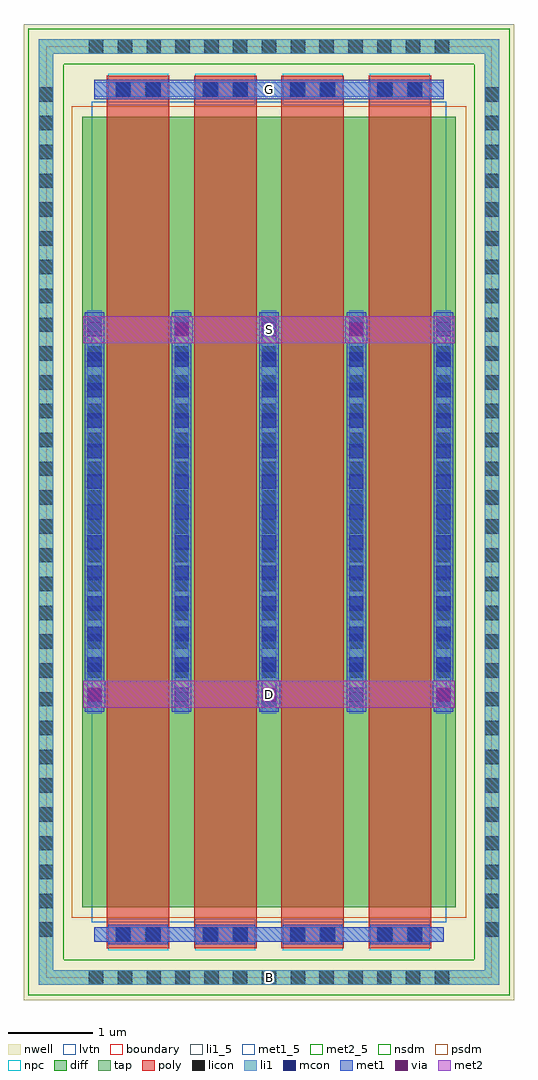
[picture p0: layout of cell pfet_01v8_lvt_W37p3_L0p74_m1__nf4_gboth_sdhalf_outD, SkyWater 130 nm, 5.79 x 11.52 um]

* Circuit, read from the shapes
.subckt pfet_01v8_lvt_W37p3_L0p74_m1__nf4_gboth_sdhalf_outD B D G S
XM1 S G D B sky130_fd_pr__pfet_01v8_lvt w=9.33 l=0.74 m=4
.ends

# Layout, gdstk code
import gdstk
lib = gdstk.Library(unit=1e-6, precision=1e-09)
def R(c, l, rs):  # rectangles x0, y0, x1, y1
    for r in rs: c.add(gdstk.rectangle(r[:2], r[2:], *l))
def A(c, l, x, y, w, h, nx, ny, dx, dy):  # array of equal rectangles
    R(c, l, [(x+i*dx, y+j*dy, x+i*dx+w, y+j*dy+h) for i in range(nx) for j in range(ny)])
nwell = (64, 20)
diff = (65, 20)
tap = (65, 44)
poly = (66, 20)
licon = (66, 44)
li1_5 = (67, 5)
li1 = (67, 20)
mcon = (67, 44)
met1_5 = (68, 5)
met1 = (68, 20)
via = (68, 44)
met2_5 = (69, 5)
met2 = (69, 20)
nsdm = (93, 44)
psdm = (94, 20)
npc = (95, 20)
lvtn = (125, 44)
boundary = (235, 4)

sky130_fd_pr__pfet_01v8_ = lib.new_cell('sky130_fd_pr__pfet_01v8_lvt_HTHLDR')
R(sky130_fd_pr__pfet_01v8_, nwell, [(-2.895,-5.76,2.895,5.76)])
R(sky130_fd_pr__pfet_01v8_, diff, [(-2.205,-4.665,2.205,4.665)])
R(sky130_fd_pr__pfet_01v8_, tap, [(-2.715,-5.58,2.715,-5.41), (-2.715,-5.41,-2.545,5.41), (2.545,-5.41,2.715,5.41), (-2.715,5.41,2.715,5.58)])
A(sky130_fd_pr__pfet_01v8_, poly, -1.915, -5.15, 0.74, 10.3, 4, 1, 1.03, 0)
A(sky130_fd_pr__pfet_01v8_, licon, -2.125, -5.58, 0.17, 0.17, 13, 2, 0.34, 10.99)
A(sky130_fd_pr__pfet_01v8_, licon, -2.715, -5.015, 0.17, 0.17, 1, 30, 0, 0.34)
A(sky130_fd_pr__pfet_01v8_, licon, 2.545, -5.015, 0.17, 0.17, 1, 30, 0, 0.34)
A(sky130_fd_pr__pfet_01v8_, licon, -2.145, -2.295, 0.17, 0.17, 5, 14, 1.03, 0.34)
R(sky130_fd_pr__pfet_01v8_, licon, [(-1.8,-5.07,-1.63,-4.9), (-1.46,-5.07,-1.29,-4.9), (-0.77,-5.07,-0.6,-4.9), (-0.43,-5.07,-0.26,-4.9), (0.26,-5.07,0.43,-4.9), (0.6,-5.07,0.77,-4.9), (1.29,-5.07,1.46,-4.9), (1.63,-5.07,1.8,-4.9), (-1.8,4.9,-1.63,5.07), (-1.46,4.9,-1.29,5.07), (-0.77,4.9,-0.6,5.07), (-0.43,4.9,-0.26,5.07), (0.26,4.9,0.43,5.07), (0.6,4.9,0.77,5.07), (1.29,4.9,1.46,5.07), (1.63,4.9,1.8,5.07)])
A(sky130_fd_pr__pfet_01v8_, li1, -2.145, -2.38, 0.17, 4.76, 5, 1, 1.03, 0)
R(sky130_fd_pr__pfet_01v8_, li1, [(-2.715,-5.58,2.715,-5.41), (-2.715,-5.41,-2.545,5.41), (2.545,-5.41,2.715,5.41), (-2.06,-5.07,2.06,-4.9), (-2.06,4.9,2.06,5.07), (-2.715,5.41,2.715,5.58)])
A(sky130_fd_pr__pfet_01v8_, mcon, -2.145, -2.245, 0.17, 0.17, 5, 13, 1.03, 0.36)
R(sky130_fd_pr__pfet_01v8_, mcon, [(-1.81,-5.07,-1.64,-4.9), (-1.45,-5.07,-1.28,-4.9), (-0.78,-5.07,-0.61,-4.9), (-0.42,-5.07,-0.25,-4.9), (0.25,-5.07,0.42,-4.9), (0.61,-5.07,0.78,-4.9), (1.28,-5.07,1.45,-4.9), (1.64,-5.07,1.81,-4.9), (-1.81,4.9,-1.64,5.07), (-1.45,4.9,-1.28,5.07), (-0.78,4.9,-0.61,5.07), (-0.42,4.9,-0.25,5.07), (0.25,4.9,0.42,5.07), (0.61,4.9,0.78,5.07), (1.28,4.9,1.45,5.07), (1.64,4.9,1.81,5.07)])
A(sky130_fd_pr__pfet_01v8_, met1, -1.895, -5.1, 0.7, 0.03, 4, 2, 1.03, 0.2)
A(sky130_fd_pr__pfet_01v8_, met1, -2.175, -2.36, 0.23, 4.72, 5, 1, 1.03, 0)
A(sky130_fd_pr__pfet_01v8_, met1, -1.895, 4.87, 0.7, 0.03, 4, 2, 1.03, 0.2)
R(sky130_fd_pr__pfet_01v8_, met1, [(-2.06,-5.07,2.06,-4.9), (-2.06,4.9,2.06,5.07)])
R(sky130_fd_pr__pfet_01v8_, nsdm, [(-2.84,-5.705,2.84,-5.285), (-2.84,-5.285,-2.42,5.285), (2.42,-5.285,2.84,5.285), (-2.84,5.285,2.84,5.705)])
R(sky130_fd_pr__pfet_01v8_, psdm, [(-2.33,-4.79,2.33,4.79)])
A(sky130_fd_pr__pfet_01v8_, npc, -1.9, -5.17, 0.71, 0.37, 4, 2, 1.03, 9.97)
R(sky130_fd_pr__pfet_01v8_, lvtn, [(-2.095,-4.845,2.095,4.845)])
R(sky130_fd_pr__pfet_01v8_, boundary, [(-2.63,-5.495,2.63,5.495)])
sky130_fd_pr__pfet_01v8_.add(gdstk.Label('B', (0,-5.495), layer=67, texttype=5))
sky130_fd_pr__pfet_01v8_.add(gdstk.Label('D0', (-2.06,0), layer=67, texttype=5))
sky130_fd_pr__pfet_01v8_.add(gdstk.Label('G', (1.545,4.985), layer=67, texttype=5))
sky130_fd_pr__pfet_01v8_.add(gdstk.Label('G', (0.515,4.985), layer=67, texttype=5))
sky130_fd_pr__pfet_01v8_.add(gdstk.Label('G', (-0.515,4.985), layer=67, texttype=5))
sky130_fd_pr__pfet_01v8_.add(gdstk.Label('G', (-1.545,4.985), layer=67, texttype=5))
sky130_fd_pr__pfet_01v8_.add(gdstk.Label('S1', (-1.03,0), layer=67, texttype=5))
sky130_fd_pr__pfet_01v8_.add(gdstk.Label('D2', (0,0), layer=67, texttype=5))
sky130_fd_pr__pfet_01v8_.add(gdstk.Label('S3', (1.03,0), layer=67, texttype=5))

pfet_01v8_lvt_w37p3_l0p7 = lib.new_cell('pfet_01v8_lvt_W37p3_L0p74_m1__nf4_gboth_sdhalf_outD')
R(pfet_01v8_lvt_w37p3_l0p7, li1_5, [(2.545,-0.085,2.715,0.085)])
R(pfet_01v8_lvt_w37p3_l0p7, li1, [(2.545,-0.085,2.715,0.085)])
R(pfet_01v8_lvt_w37p3_l0p7, met1_5, [(0.57,10.365,4.69,10.595)])
A(pfet_01v8_lvt_w37p3_l0p7, met1, 0.44, 3.185, 0.26, 0.32, 3, 1, 2.06, 0)
R(pfet_01v8_lvt_w37p3_l0p7, met1, [(1.47,7.485,1.73,7.805), (3.53,7.485,3.79,7.805), (0.57,10.365,4.69,10.595)])
A(pfet_01v8_lvt_w37p3_l0p7, via, 0.495, 3.27, 0.15, 0.15, 3, 1, 2.06, 0)
R(pfet_01v8_lvt_w37p3_l0p7, via, [(1.525,7.57,1.675,7.72), (3.585,7.57,3.735,7.72)])
R(pfet_01v8_lvt_w37p3_l0p7, met2_5, [(0.435,3.185,4.825,3.505), (0.435,7.485,4.825,7.805)])
R(pfet_01v8_lvt_w37p3_l0p7, met2, [(0.435,3.185,4.825,3.505), (0.435,7.485,4.825,7.805)])
pfet_01v8_lvt_w37p3_l0p7.add(gdstk.Reference(sky130_fd_pr__pfet_01v8_, (2.63,5.495)))
pfet_01v8_lvt_w37p3_l0p7.add(gdstk.Label('S', (2.63,7.645), layer=69, texttype=5))
pfet_01v8_lvt_w37p3_l0p7.add(gdstk.Label('D', (2.63,3.345), layer=69, texttype=5))
pfet_01v8_lvt_w37p3_l0p7.add(gdstk.Label('G', (2.63,10.48), layer=68, texttype=5))
pfet_01v8_lvt_w37p3_l0p7.add(gdstk.Label('B', (2.63,0), layer=67, texttype=5))

lib.write_gds('pfet_01v8_lvt_W37p3_L0p74_m1__nf4_gboth_sdhalf_outD.gds')
